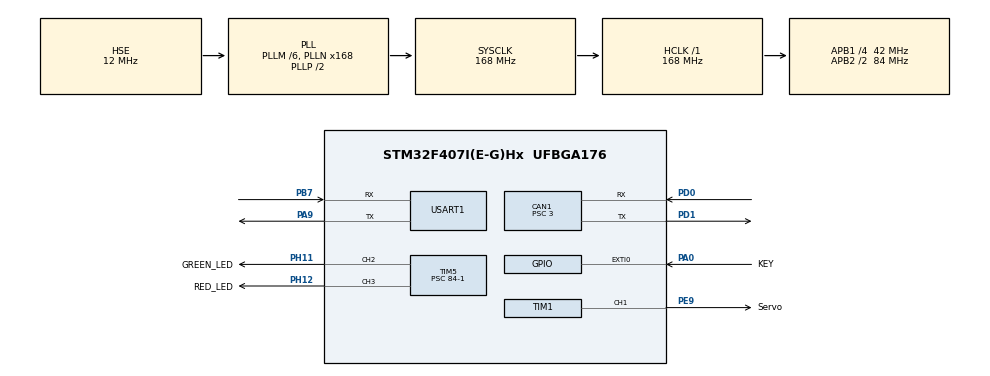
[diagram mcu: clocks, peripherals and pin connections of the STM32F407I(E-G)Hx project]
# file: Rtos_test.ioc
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CAN1.ABOM=ENABLE
CAN1.BS1=CAN_BS1_10TQ
CAN1.BS2=CAN_BS2_3TQ
CAN1.CalculateBaudRate=1000000
CAN1.CalculateTimeBit=1000
CAN1.CalculateTimeQuantum=71.42857142857143
CAN1.NART=ENABLE
CAN1.Prescaler=3
Dma.Request0=USART1_RX
Dma.Request1=USART1_TX
Dma.USART1_RX.0.Direction=DMA_PERIPH_TO_MEMORY
Dma.USART1_RX.0.FIFOMode=DMA_FIFOMODE_DISABLE
Dma.USART1_RX.0.Instance=DMA2_Stream2
Dma.USART1_RX.0.MemDataAlignment=DMA_MDATAALIGN_BYTE
Dma.USART1_RX.0.MemInc=DMA_MINC_ENABLE
Dma.USART1_RX.0.Mode=DMA_NORMAL
Dma.USART1_RX.0.PeriphDataAlignment=DMA_PDATAALIGN_BYTE
Dma.USART1_RX.0.PeriphInc=DMA_PINC_DISABLE
Dma.USART1_RX.0.Priority=DMA_PRIORITY_LOW
Dma.USART1_TX.1.Direction=DMA_MEMORY_TO_PERIPH
Dma.USART1_TX.1.FIFOMode=DMA_FIFOMODE_DISABLE
Dma.USART1_TX.1.Instance=DMA2_Stream7
Dma.USART1_TX.1.MemDataAlignment=DMA_MDATAALIGN_BYTE
Dma.USART1_TX.1.MemInc=DMA_MINC_ENABLE
Dma.USART1_TX.1.Mode=DMA_NORMAL
Dma.USART1_TX.1.PeriphDataAlignment=DMA_PDATAALIGN_BYTE
Dma.USART1_TX.1.PeriphInc=DMA_PINC_DISABLE
Dma.USART1_TX.1.Priority=DMA_PRIORITY_LOW
FREERTOS.Tasks01=Offline_Detecti,26,128,OfflineTask,Default,NULL,Dynamic,NULL,NULL;Key_ServoTask,32,256,ServoTask,Default,NULL,Dynamic,NULL,NULL;PrintMotorTask,25,512,PrintMotorSpeed,Default,NULL,Dynamic,NULL,NULL;MotorTask,40,512,Motor,Default,NULL,Dynamic,NULL,NULL
FREERTOS.configGENERATE_RUN_TIME_STATS=1
FREERTOS.configRECORD_STACK_HIGH_ADDRESS=1
FREERTOS.configTOTAL_HEAP_SIZE=16384
Mcu.Family=STM32F4
Mcu.Name=STM32F407I(E-G)Hx
Mcu.Package=UFBGA176
NVIC.CAN1_RX0_IRQn=true\:5\:0\:false\:false\:true\:true\:true\:true\:true
NVIC.DMA2_Stream2_IRQn=true\:5\:0\:false\:false\:true\:true\:false\:true\:true
NVIC.DMA2_Stream7_IRQn=true\:5\:0\:false\:false\:true\:true\:false\:true\:true
NVIC.EXTI0_IRQn=true\:5\:0\:false\:false\:true\:true\:true\:true\:true
NVIC.PriorityGroup=NVIC_PRIORITYGROUP_4
NVIC.TIM1_BRK_TIM9_IRQn=true\:5\:0\:false\:false\:true\:true\:true\:true\:true
NVIC.TIM4_IRQn=true\:15\:0\:false\:false\:true\:false\:false\:true\:true
NVIC.TIM5_IRQn=true\:5\:0\:false\:false\:true\:true\:true\:true\:true
NVIC.TimeBase=TIM4_IRQn
NVIC.TimeBaseIP=TIM4
NVIC.USART1_IRQn=true\:5\:0\:false\:false\:true\:true\:true\:true\:true
PA0-WKUP.GPIO_Label=KEY
PA0-WKUP.GPIO_ModeDefaultEXTI=GPIO_MODE_IT_FALLING
PA0-WKUP.GPIO_PuPd=GPIO_PULLUP
PA0-WKUP.Signal=GPXTI0
PA13.Mode=Serial_Wire
PA13.Signal=SYS_JTMS-SWDIO
PA14.Mode=Serial_Wire
PA14.Signal=SYS_JTCK-SWCLK
PA9.GPIO_PuPd=GPIO_PULLUP
PA9.Mode=Asynchronous
PA9.Signal=USART1_TX
PB7.GPIO_PuPd=GPIO_PULLUP
PB7.Mode=Asynchronous
PB7.Signal=USART1_RX
PD0.Mode=CAN_Activate
PD0.Signal=CAN1_RX
PD1.Mode=CAN_Activate
PD1.Signal=CAN1_TX
PE9.GPIO_Label=Servo
PE9.GPIO_PuPd=GPIO_PULLUP
PE9.Signal=S_TIM1_CH1
PH0-OSC_IN.Mode=HSE-External-Oscillator
PH0-OSC_IN.Signal=RCC_OSC_IN
PH1-OSC_OUT.Mode=HSE-External-Oscillator
PH1-OSC_OUT.Signal=RCC_OSC_OUT
PH11.GPIO_Label=GREEN_LED
PH11.Signal=S_TIM5_CH2
PH12.GPIO_Label=RED_LED
PH12.Signal=S_TIM5_CH3
ProjectManager.HeapSize=0x200
ProjectManager.StackSize=0x400
ProjectManager.TargetToolchain=STM32CubeIDE
RCC.48MHZClocksFreq_Value=84000000
RCC.AHBFreq_Value=168000000
RCC.APB1CLKDivider=RCC_HCLK_DIV4
RCC.APB1Freq_Value=42000000
RCC.APB1TimFreq_Value=84000000
RCC.APB2CLKDivider=RCC_HCLK_DIV2
RCC.APB2Freq_Value=84000000
RCC.APB2TimFreq_Value=168000000
RCC.CortexFreq_Value=168000000
RCC.HCLKFreq_Value=168000000
RCC.HSE_VALUE=12000000
RCC.HSI_VALUE=16000000
RCC.LSE_VALUE=32768
RCC.PLLM=6
RCC.PLLN=168
RCC.PLLSourceVirtual=RCC_PLLSOURCE_HSE
RCC.SYSCLKFreq_VALUE=168000000
RCC.SYSCLKSource=RCC_SYSCLKSOURCE_PLLCLK
RCC.VCOOutputFreq_Value=336000000
SH.S_TIM1_CH1.0=TIM1_CH1,PWM Generation1 CH1
SH.S_TIM5_CH2.0=TIM5_CH2,PWM Generation2 CH2
SH.S_TIM5_CH3.0=TIM5_CH3,PWM Generation3 CH3
TIM1.Channel-PWM\ Generation1\ CH1=TIM_CHANNEL_1
TIM1.Period=20000-1
TIM1.Prescaler=168-1
TIM5.Channel-PWM\ Generation2\ CH2=TIM_CHANNEL_2
TIM5.Channel-PWM\ Generation3\ CH3=TIM_CHANNEL_3
TIM5.Period=500-1
TIM5.Prescaler=84-1
USART1.VirtualMode=VM_ASYNC
VP_FREERTOS_VS_CMSIS_V2.Mode=CMSIS_V2
VP_SYS_VS_tim4.Mode=TIM4
VP_TIM1_VS_ClockSourceINT.Mode=Internal
VP_TIM5_VS_ClockSourceINT.Mode=Internal
board=custom

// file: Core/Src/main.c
/* USER CODE BEGIN Header */
/**
  ******************************************************************************
  * @file           : main.c
  * @brief          : Main program body
  ******************************************************************************
  * @attention
  *
  * Copyright (c) 2026 STMicroelectronics.
  * All rights reserved.
  *
  * This software is licensed under terms that can be found in the LICENSE file
  * in the root directory of this software component.
  * If no LICENSE file comes with this software, it is provided AS-IS.
  *
  ******************************************************************************
  */
/* USER CODE END Header */
#include "main.h"
#include "cmsis_os.h"
#include "can.h"
#include "dma.h"
#include "tim.h"
#include "usart.h"
#include "gpio.h"

/* USER CODE BEGIN Includes */
#include "dev_motor_gm6020.h"
#include "alg_pid.h"
#include "UART.h"
#include "Servo.h"
/* USER CODE END Includes */

/* USER CODE BEGIN PV */
volatile uint8_t g_init_step = 0;   //【诊断用】记录初始化执行到第几步，调试时在 Variables 窗口看
/* USER CODE END PV */

void SystemClock_Config(void);
void MX_FREERTOS_Init(void);

int main(void)
{

  /* MCU Configuration--------------------------------------------------------*/

  /* Reset of all peripherals, Initializes the Flash interface and the Systick. */
  HAL_Init();

  /* Configure the system clock */
  SystemClock_Config();

  /* Initialize all configured peripherals */
  MX_GPIO_Init();
  MX_DMA_Init();
  MX_CAN1_Init();
  MX_USART1_UART_Init();
  MX_TIM5_Init();
  MX_TIM1_Init();
  /* USER CODE BEGIN 2 */
  //初始化串口DMA与空闲中断
  UART_Init();

  //初始化舵机PWM通道，以及舵机复位（TIM1_CH1 -> PE9）
  HAL_TIM_PWM_Start(&htim1, TIM_CHANNEL_1);
  __HAL_TIM_SET_COMPARE(&htim1, TIM_CHANNEL_1, 500);

  //初始化红绿LED的PWM通道（TIM5_CH3 -> PH12 红，TIM5_CH2 -> PH11 绿）
  HAL_TIM_PWM_Start(&htim5, TIM_CHANNEL_2);
  HAL_TIM_PWM_Start(&htim5, TIM_CHANNEL_3);
  __HAL_TIM_SET_COMPARE(&htim5, TIM_CHANNEL_2, 0);
  __HAL_TIM_SET_COMPARE(&htim5, TIM_CHANNEL_3, 0);

  extern PID_Typedef motor_pid;//初始化速度环PID参数

  PID_Init(&motor_pid, 30000.0f, 10000.0f, 40.0f, 1.0f, 0.0f);

  //轮椅级别的CAN通信设置
  CAN_FilterTypeDef can_filter;
  can_filter.FilterActivation = ENABLE;
  can_filter.FilterMode = CAN_FILTERMODE_IDMASK;
  can_filter.FilterScale = CAN_FILTERSCALE_32BIT;
  can_filter.FilterIdHigh = 0x0000;
  can_filter.FilterIdLow = 0x0000;
  can_filter.FilterMaskIdHigh = 0x0000;
  can_filter.FilterMaskIdLow = 0x0000;
  can_filter.FilterBank = 0;
  can_filter.FilterFIFOAssignment = CAN_RX_FIFO0;
  HAL_CAN_ConfigFilter(&hcan1, &can_filter);

  HAL_CAN_Start(&hcan1);
  HAL_CAN_ActivateNotification(&hcan1, CAN_IT_RX_FIFO0_MSG_PENDING);

  /* USER CODE END 2 */

  /* Init scheduler */
  osKernelInitialize();  /* Call init function for freertos objects (in cmsis_os2.c) */
  MX_FREERTOS_Init();

  /* Start scheduler */
  osKernelStart();

  /* We should never get here as control is now taken by the scheduler */

  /* Infinite loop */
  while (1)
  {

  }
}

void SystemClock_Config(void)
{
  RCC_OscInitTypeDef RCC_OscInitStruct = {0};
  RCC_ClkInitTypeDef RCC_ClkInitStruct = {0};

  /** Configure the main internal regulator output voltage
  */
  __HAL_RCC_PWR_CLK_ENABLE();
  __HAL_PWR_VOLTAGESCALING_CONFIG(PWR_REGULATOR_VOLTAGE_SCALE1);

  /** Initializes the RCC Oscillators according to the specified parameters
  * in the RCC_OscInitTypeDef structure.
  */
  RCC_OscInitStruct.OscillatorType = RCC_OSCILLATORTYPE_HSE;
  RCC_OscInitStruct.HSEState = RCC_HSE_ON;
  RCC_OscInitStruct.PLL.PLLState = RCC_PLL_ON;
  RCC_OscInitStruct.PLL.PLLSource = RCC_PLLSOURCE_HSE;
  RCC_OscInitStruct.PLL.PLLM = 6;
  RCC_OscInitStruct.PLL.PLLN = 168;
  RCC_OscInitStruct.PLL.PLLP = RCC_PLLP_DIV2;
  RCC_OscInitStruct.PLL.PLLQ = 4;
  if (HAL_RCC_OscConfig(&RCC_OscInitStruct) != HAL_OK)
  {
    Error_Handler();
  }

  /** Initializes the CPU, AHB and APB buses clocks
  */
  RCC_ClkInitStruct.ClockType = RCC_CLOCKTYPE_HCLK|RCC_CLOCKTYPE_SYSCLK
                              |RCC_CLOCKTYPE_PCLK1|RCC_CLOCKTYPE_PCLK2;
  RCC_ClkInitStruct.SYSCLKSource = RCC_SYSCLKSOURCE_PLLCLK;
  RCC_ClkInitStruct.AHBCLKDivider = RCC_SYSCLK_DIV1;
  RCC_ClkInitStruct.APB1CLKDivider = RCC_HCLK_DIV4;
  RCC_ClkInitStruct.APB2CLKDivider = RCC_HCLK_DIV2;

  if (HAL_RCC_ClockConfig(&RCC_ClkInitStruct, FLASH_LATENCY_5) != HAL_OK)
  {
    Error_Handler();
  }
}

void HAL_TIM_PeriodElapsedCallback(TIM_HandleTypeDef *htim)
{
  if (htim->Instance == TIM4)
  {
    HAL_IncTick();
  }
}

void Error_Handler(void)
{
  __disable_irq();
  while (1)
  {
  }
}

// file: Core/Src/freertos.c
/* USER CODE BEGIN Header */
/**
  ******************************************************************************
  * File Name          : freertos.c
  * Description        : Code for freertos applications
  ******************************************************************************
  * @attention
  *
  * Copyright (c) 2026 STMicroelectronics.
  * All rights reserved.
  *
  * This software is licensed under terms that can be found in the LICENSE file
  * in the root directory of this software component.
  * If no LICENSE file comes with this software, it is provided AS-IS.
  *
  ******************************************************************************
  */
/* USER CODE END Header */

#include "FreeRTOS.h"
#include "task.h"
#include "main.h"
#include "cmsis_os.h"

/* USER CODE BEGIN Includes */
#include "dev_motor_gm6020.h"
#include "alg_pid.h"
#include "UART.h"
#include "Servo.h"
#include <stdio.h>
#include <stdlib.h>
#include <string.h>
#include "tim.h"
/* USER CODE END Includes */

/* USER CODE BEGIN Variables */
extern GM6020_Motor_t gm6020_motor1; // 电机实例
extern uint8_t UART_RxFlag;          // 串口接收标志
extern char UART_ProcBuf[];          // 串口数据缓存
extern volatile uint8_t Key_GetNum;  // 按键标志
extern volatile uint32_t g_can_tx_ok;    //【诊断用】CAN 发送成功次数
extern volatile uint32_t g_can_tx_fail;  //【诊断用】CAN 发送失败次数

PID_Typedef motor_pid;               // 速度环PID结构体
float target_rpm = 0.0f;             // 目标转速
/* USER CODE END Variables */
/* Definitions for Offline_Detecti */
osThreadId_t Offline_DetectiHandle;
const osThreadAttr_t Offline_Detecti_attributes = {
  .name = "Offline_Detecti",
  .stack_size = 128 * 4,
  .priority = (osPriority_t) osPriorityNormal2,
};
/* Definitions for Key_ServoTask */
osThreadId_t Key_ServoTaskHandle;
const osThreadAttr_t Key_ServoTask_attributes = {
  .name = "Key_ServoTask",
  .stack_size = 256 * 4,
  .priority = (osPriority_t) osPriorityNormal1,
};
/* Definitions for PrintMotorTask */
osThreadId_t PrintMotorTaskHandle;
const osThreadAttr_t PrintMotorTask_attributes = {
  .name = "PrintMotorTask",
  .stack_size = 512 * 4,
  .priority = (osPriority_t) osPriorityAboveNormal,
};
/* Definitions for MotorTask */
osThreadId_t MotorTaskHandle;
const osThreadAttr_t MotorTask_attributes = {
  .name = "MotorTask",
  .stack_size = 512 * 4,
  .priority = (osPriority_t) osPriorityHigh,
};

void OfflineTask(void *argument);
void ServoTask(void *argument);
void PrintMotorSpeed(void *argument);
void Motor(void *argument);

void MX_FREERTOS_Init(void); /* (MISRA C 2004 rule 8.1) */

/* Hook prototypes */
void configureTimerForRunTimeStats(void);
unsigned long getRunTimeCounterValue(void);

/* USER CODE BEGIN 1 */
/* Functions needed when configGENERATE_RUN_TIME_STATS is on */
__weak void configureTimerForRunTimeStats(void)
{

}

__weak unsigned long getRunTimeCounterValue(void)
{
return 0;
}
/* USER CODE END 1 */

void MX_FREERTOS_Init(void) {

  /* Create the thread(s) */
  /* creation of Offline_Detecti */
  Offline_DetectiHandle = osThreadNew(OfflineTask, NULL, &Offline_Detecti_attributes);

  /* creation of Key_ServoTask */
  Key_ServoTaskHandle = osThreadNew(ServoTask, NULL, &Key_ServoTask_attributes);

  /* creation of PrintMotorTask */
  PrintMotorTaskHandle = osThreadNew(PrintMotorSpeed, NULL, &PrintMotorTask_attributes);

  /* creation of MotorTask */
  MotorTaskHandle = osThreadNew(Motor, NULL, &MotorTask_attributes);

}

void OfflineTask(void *argument)
{
  /* USER CODE BEGIN OfflineTask */
  /* Infinite loop */
  int16_t red_pwm = 0;
  int8_t dir = 1;

  for (;;)
    {
      if (gm6020_motor1.offline_flag)
      {
        //离线：红灯呼吸，关闭绿灯
        __HAL_TIM_SET_COMPARE(&htim5, TIM_CHANNEL_2, 0);

        // 呼吸计算：0->500 用 1 秒，来回共 2 秒（TIM5 的 ARR=499，500 即满占空比）
        red_pwm += dir;
        if (red_pwm >= 500)
        {
          red_pwm = 500;
          dir = -1;
        }
        else if (red_pwm <= 0)
        {
          red_pwm = 0;
          dir = 1;
        }
        __HAL_TIM_SET_COMPARE(&htim5, TIM_CHANNEL_3, red_pwm);
      }
      else
      {
        //正常常亮绿灯，关闭红灯
        __HAL_TIM_SET_COMPARE(&htim5, TIM_CHANNEL_3, 0);
        __HAL_TIM_SET_COMPARE(&htim5, TIM_CHANNEL_2, 500);
      }

      osDelay(2); // 2ms 一次，0->500 耗时 1 秒，来回正好 2 秒
    }
  /* USER CODE END OfflineTask */
}

void ServoTask(void *argument)
{
  /* USER CODE BEGIN ServoTask */
  /* Infinite loop */
  for(;;)
  {
    if (Key_GetNum == 1)
    {
      Key_GetNum = 0; //清除标志位
      Servo_Step();   // 调用修改后每次加20度的函数
    }

    osDelay(10);
  }
  /* USER CODE END ServoTask */
}

void PrintMotorSpeed(void *argument)
{
  /* USER CODE BEGIN PrintMotorSpeed */
  /* Infinite loop */
    uint32_t last_print_time = HAL_GetTick();
    static char tx_buf[64];   //DMA 发送期间缓冲区必须持续有效，不能用栈上的局部变量

    for(;;)
    {
      //解析指令: "motor+100" 或 "motor-100"
      if (UART_RxFlag)
      {
        UART_RxFlag = 0;
        if (strncmp(UART_ProcBuf, "motor", 5) == 0)
        {
          target_rpm = (float)atof(&UART_ProcBuf[5]);
        }
      }
      //每两秒打印一次信息
      if (HAL_GetTick() - last_print_time >= 2000)
      {
        sprintf(tx_buf, "RPM:%d TGT:%.1f %s OUT:%d TX:%lu/%lu\r\n",
                gm6020_motor1.speed_rpm, target_rpm,
                gm6020_motor1.offline_flag ? "Offline" : "Online",
                (int)motor_pid.out,
                (unsigned long)g_can_tx_ok, (unsigned long)g_can_tx_fail);
        UART_SendString(tx_buf);
        last_print_time = HAL_GetTick();
      }

      osDelay(10); // 让出CPU控制权
    }
  /* USER CODE END PrintMotorSpeed */
}

void Motor(void *argument)
{
  /* USER CODE BEGIN Motor */
    /* Infinite loop */
    for(;;)
    {
      GM6020_WDG(&gm6020_motor1);

      if (!gm6020_motor1.offline_flag)
      {
        float output = PID_Calc(&motor_pid, (float)gm6020_motor1.speed_rpm, target_rpm);
        GM6020_SendCommand((int16_t)output, 0, 0, 0);
      }
      else
      {
        PID_Reset(&motor_pid);
        GM6020_SendCommand(0, 0, 0, 0);
      }
      osDelay(2); // 500Hz控制频率
    }
  /* USER CODE END Motor */
}

/* USER CODE BEGIN Application */
  void HAL_CAN_RxFifo0MsgPendingCallback(CAN_HandleTypeDef *hcan)
  {
    CAN_RxHeaderTypeDef rx_header;
    uint8_t rx_data[8];

    if (hcan->Instance == CAN1)
    {
      HAL_CAN_GetRxMessage(hcan, CAN_RX_FIFO0, &rx_header, rx_data);
      if (rx_header.StdId == 0x205) // GM6020 ID=1 对应的反馈报文ID为0x205
      {
        GM6020_Init(&gm6020_motor1, rx_data);
      }
    }
  }
/* USER CODE END Application */
